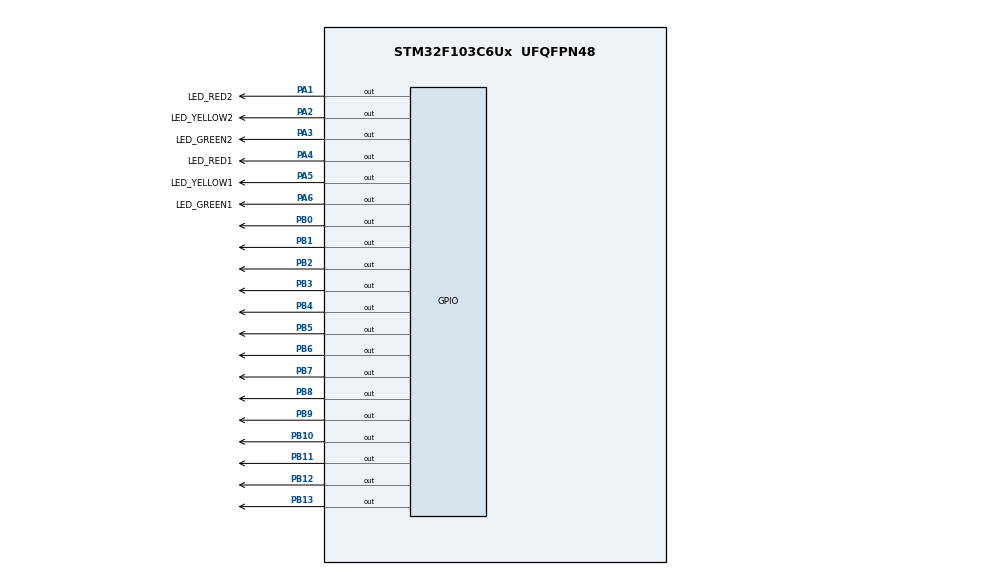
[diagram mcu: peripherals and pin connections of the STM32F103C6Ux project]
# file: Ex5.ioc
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Mcu.Family=STM32F1
Mcu.Name=STM32F103C6Ux
Mcu.Package=UFQFPN48
NVIC.PriorityGroup=NVIC_PRIORITYGROUP_4
PA1.GPIO_Label=LED_RED2
PA1.Signal=GPIO_Output
PA2.GPIO_Label=LED_YELLOW2
PA2.Signal=GPIO_Output
PA3.GPIO_Label=LED_GREEN2
PA3.Signal=GPIO_Output
PA4.GPIO_Label=LED_RED1
PA4.Signal=GPIO_Output
PA5.GPIO_Label=LED_YELLOW1
PA5.Signal=GPIO_Output
PA6.GPIO_Label=LED_GREEN1
PA6.Signal=GPIO_Output
PB0.Signal=GPIO_Output
PB1.Signal=GPIO_Output
PB10.Signal=GPIO_Output
PB11.Signal=GPIO_Output
PB12.Signal=GPIO_Output
PB13.Signal=GPIO_Output
PB2.Signal=GPIO_Output
PB3.Signal=GPIO_Output
PB4.Signal=GPIO_Output
PB5.Signal=GPIO_Output
PB6.Signal=GPIO_Output
PB7.Signal=GPIO_Output
PB8.Signal=GPIO_Output
PB9.Signal=GPIO_Output
ProjectManager.HeapSize=0x200
ProjectManager.StackSize=0x400
ProjectManager.TargetToolchain=STM32CubeIDE
RCC.APB1Freq_Value=8000000
RCC.APB2Freq_Value=8000000
VP_SYS_VS_ND.Mode=No_Debug
board=custom

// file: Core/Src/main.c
/* USER CODE BEGIN Header */
/**
  ******************************************************************************
  * @file           : main.c
  * @brief          : Main program body
  ******************************************************************************
  * @attention
  *
  * <h2><center>&copy; Copyright (c) 2025 STMicroelectronics.
  * All rights reserved.</center></h2>
  *
  * This software component is licensed by ST under BSD 3-Clause license,
  * the "License"; You may not use this file except in compliance with the
  * License. You may obtain a copy of the License at:
  *                        opensource.org/licenses/BSD-3-Clause
  *
  ******************************************************************************
  */
/* USER CODE END Header */
#include "main.h"

void SystemClock_Config(void);
static void MX_GPIO_Init(void);
/* USER CODE BEGIN PFP */
void display7SEG(int num, uint32_t GPIO_Pin);
/* USER CODE END PFP */

int main(void)
{

  /* MCU Configuration--------------------------------------------------------*/

  /* Reset of all peripherals, Initializes the Flash interface and the Systick. */
  HAL_Init();

  /* Configure the system clock */
  SystemClock_Config();

  /* Initialize all configured peripherals */
  MX_GPIO_Init();
  /* USER CODE BEGIN 2 */
  #define redTime 5
  #define greenTime 3
  #define yellowTime 2
  int counter1 = greenTime;
  int counter2 = redTime;
  int state = 0;
  // INITIAL STATE: LED 1 GREEN ON, LED 2 RED ON
  HAL_GPIO_WritePin(GPIOA, LED_RED1_Pin, SET);
  HAL_GPIO_WritePin(GPIOA, LED_YELLOW1_Pin, SET);
  HAL_GPIO_WritePin(GPIOA, LED_GREEN1_Pin, RESET);
  HAL_GPIO_WritePin(GPIOA, LED_RED2_Pin, RESET);
  HAL_GPIO_WritePin(GPIOA, LED_YELLOW2_Pin, SET);
  HAL_GPIO_WritePin(GPIOA, LED_GREEN2_Pin, SET);
  /* USER CODE END 2 */

  /* Infinite loop */
  /* USER CODE BEGIN WHILE */
  while (1)
  {
	  if (counter1 <= 0 || counter2 <= 0) {
		  switch (state) {
		  case 0:
			  // LED 1 GREEN OFF, YELLOW ON
			  // LED 2 RED ON
			  counter1 = yellowTime;
			  counter2 = redTime - greenTime;
			  state = 1;
			  HAL_GPIO_WritePin(GPIOA, LED_RED1_Pin, SET);
			  HAL_GPIO_WritePin(GPIOA, LED_YELLOW1_Pin, RESET);
			  HAL_GPIO_WritePin(GPIOA, LED_GREEN1_Pin, SET);
			  HAL_GPIO_WritePin(GPIOA, LED_RED2_Pin, RESET);
			  HAL_GPIO_WritePin(GPIOA, LED_YELLOW2_Pin, SET);
			  HAL_GPIO_WritePin(GPIOA, LED_GREEN2_Pin, SET);
			  break;
		  case 1:
			  // LED 1 YELLOW OFF, RED ON
			  // LED 2 RED OFF, GREEN ON
			  counter1 = redTime;
			  counter2 = greenTime;
			  state = 2;
			  HAL_GPIO_WritePin(GPIOA, LED_RED1_Pin, RESET);
			  HAL_GPIO_WritePin(GPIOA, LED_YELLOW1_Pin, SET);
			  HAL_GPIO_WritePin(GPIOA, LED_GREEN1_Pin, SET);
			  HAL_GPIO_WritePin(GPIOA, LED_RED2_Pin, SET);
			  HAL_GPIO_WritePin(GPIOA, LED_YELLOW2_Pin, SET);
			  HAL_GPIO_WritePin(GPIOA, LED_GREEN2_Pin, RESET);
			  break;
		  case 2:
			  // LED 1 RED ON
			  // LED 2 GREEN OFF, YELLOW ON
			  counter1 = redTime - greenTime;
			  counter2 = yellowTime;
			  state = 3;
			  HAL_GPIO_WritePin(GPIOA, LED_RED1_Pin, RESET);
			  HAL_GPIO_WritePin(GPIOA, LED_YELLOW1_Pin, SET);
			  HAL_GPIO_WritePin(GPIOA, LED_GREEN1_Pin, SET);
			  HAL_GPIO_WritePin(GPIOA, LED_RED2_Pin, SET);
			  HAL_GPIO_WritePin(GPIOA, LED_YELLOW2_Pin, RESET);
			  HAL_GPIO_WritePin(GPIOA, LED_GREEN2_Pin, SET);
			  break;
		  case 3:
			  // LED 1 RED OFF, GREEN ON
			  // LED 2 YELLOW OFF, RED ON
			  counter1 = greenTime;
			  counter2 = redTime;
			  state = 0;
			  HAL_GPIO_WritePin(GPIOA, LED_RED1_Pin, SET);
			  HAL_GPIO_WritePin(GPIOA, LED_YELLOW1_Pin, SET);
			  HAL_GPIO_WritePin(GPIOA, LED_GREEN1_Pin, RESET);
			  HAL_GPIO_WritePin(GPIOA, LED_RED2_Pin, RESET);
			  HAL_GPIO_WritePin(GPIOA, LED_YELLOW2_Pin, SET);
			  HAL_GPIO_WritePin(GPIOA, LED_GREEN2_Pin, SET);
			  break;
		  }
	  }
	  display7SEG(counter1, GPIO_PIN_0);
	  display7SEG(counter2, GPIO_PIN_7);
	  counter1--;
	  counter2--;
	  HAL_Delay(1000);
    /* USER CODE END WHILE */

  }
}

void SystemClock_Config(void)
{
  RCC_OscInitTypeDef RCC_OscInitStruct = {0};
  RCC_ClkInitTypeDef RCC_ClkInitStruct = {0};

  /** Initializes the RCC Oscillators according to the specified parameters
  * in the RCC_OscInitTypeDef structure.
  */
  RCC_OscInitStruct.OscillatorType = RCC_OSCILLATORTYPE_HSI;
  RCC_OscInitStruct.HSIState = RCC_HSI_ON;
  RCC_OscInitStruct.HSICalibrationValue = RCC_HSICALIBRATION_DEFAULT;
  RCC_OscInitStruct.PLL.PLLState = RCC_PLL_NONE;
  if (HAL_RCC_OscConfig(&RCC_OscInitStruct) != HAL_OK)
  {
    Error_Handler();
  }
  /** Initializes the CPU, AHB and APB buses clocks
  */
  RCC_ClkInitStruct.ClockType = RCC_CLOCKTYPE_HCLK|RCC_CLOCKTYPE_SYSCLK
                              |RCC_CLOCKTYPE_PCLK1|RCC_CLOCKTYPE_PCLK2;
  RCC_ClkInitStruct.SYSCLKSource = RCC_SYSCLKSOURCE_HSI;
  RCC_ClkInitStruct.AHBCLKDivider = RCC_SYSCLK_DIV1;
  RCC_ClkInitStruct.APB1CLKDivider = RCC_HCLK_DIV1;
  RCC_ClkInitStruct.APB2CLKDivider = RCC_HCLK_DIV1;

  if (HAL_RCC_ClockConfig(&RCC_ClkInitStruct, FLASH_LATENCY_0) != HAL_OK)
  {
    Error_Handler();
  }
}

static void MX_GPIO_Init(void)
{
  GPIO_InitTypeDef GPIO_InitStruct = {0};

  /* GPIO Ports Clock Enable */
  __HAL_RCC_GPIOA_CLK_ENABLE();
  __HAL_RCC_GPIOB_CLK_ENABLE();

  /*Configure GPIO pin Output Level */
  HAL_GPIO_WritePin(GPIOA, LED_RED2_Pin|LED_YELLOW2_Pin|LED_GREEN2_Pin|LED_RED1_Pin
                          |LED_YELLOW1_Pin|LED_GREEN1_Pin, GPIO_PIN_RESET);

  /*Configure GPIO pin Output Level */
  HAL_GPIO_WritePin(GPIOB, GPIO_PIN_0|GPIO_PIN_1|GPIO_PIN_2|GPIO_PIN_10
                          |GPIO_PIN_11|GPIO_PIN_12|GPIO_PIN_13|GPIO_PIN_3
                          |GPIO_PIN_4|GPIO_PIN_5|GPIO_PIN_6|GPIO_PIN_7
                          |GPIO_PIN_8|GPIO_PIN_9, GPIO_PIN_RESET);

  /*Configure GPIO pins : LED_RED2_Pin LED_YELLOW2_Pin LED_GREEN2_Pin LED_RED1_Pin
                           LED_YELLOW1_Pin LED_GREEN1_Pin */
  GPIO_InitStruct.Pin = LED_RED2_Pin|LED_YELLOW2_Pin|LED_GREEN2_Pin|LED_RED1_Pin
                          |LED_YELLOW1_Pin|LED_GREEN1_Pin;
  GPIO_InitStruct.Mode = GPIO_MODE_OUTPUT_PP;
  GPIO_InitStruct.Pull = GPIO_NOPULL;
  GPIO_InitStruct.Speed = GPIO_SPEED_FREQ_LOW;
  HAL_GPIO_Init(GPIOA, &GPIO_InitStruct);

  /*Configure GPIO pins : PB0 PB1 PB2 PB10
                           PB11 PB12 PB13 PB3
                           PB4 PB5 PB6 PB7
                           PB8 PB9 */
  GPIO_InitStruct.Pin = GPIO_PIN_0|GPIO_PIN_1|GPIO_PIN_2|GPIO_PIN_10
                          |GPIO_PIN_11|GPIO_PIN_12|GPIO_PIN_13|GPIO_PIN_3
                          |GPIO_PIN_4|GPIO_PIN_5|GPIO_PIN_6|GPIO_PIN_7
                          |GPIO_PIN_8|GPIO_PIN_9;
  GPIO_InitStruct.Mode = GPIO_MODE_OUTPUT_PP;
  GPIO_InitStruct.Pull = GPIO_NOPULL;
  GPIO_InitStruct.Speed = GPIO_SPEED_FREQ_LOW;
  HAL_GPIO_Init(GPIOB, &GPIO_InitStruct);

}

/* USER CODE BEGIN 4 */
void display7SEG(int num, uint32_t GPIO_Pin) {
		/*
		 * TRUTH TABLE
		 *      dp g f e d c b a
		 * 0 => 1 1 0 0 0 0 0 0 => 0xC0
		 * 1 => 1 1 1 1 1 0 0 1 => 0xF9
		 * 2 => 1 1 1 0 0 1 0 0 => 0xA4
		 * 3 => 1 0 1 1 0 0 0 0 => 0xB0
		 * 4 => 1 0 0 1 1 0 0 1 => 0x99
		 * 5 => 1 0 0 1 0 0 1 0 => 0x92
		 * 6 => 1 0 0 0 0 0 1 0 => 0x82
		 * 7 => 1 1 1 1 1 0 0 0 => 0xF8
		 * 8 => 1 0 0 0 0 0 0 0 => 0x80
		 * 9 => 1 0 0 1 0 0 0 0 => 0x90
		 */
	  char ledNum[10] = {0xC0, 0xF9, 0xA4, 0xB0, 0x99, 0x92, 0x82, 0xF8, 0x80, 0x90};
	  for (int i = 0; i < 7; i++) {
		  // Shift GPIO_PIN_0 left by i, right shift so the bit for segment i is in the LSB position
		  HAL_GPIO_WritePin(GPIOB, GPIO_Pin << i, (ledNum[num] >> i) & 1);
	  }
 }
/* USER CODE END 4 */

void Error_Handler(void)
{
  __disable_irq();
  while (1)
  {
  }
}

/************************ (C) COPYRIGHT STMicroelectronics *****END OF FILE****/
